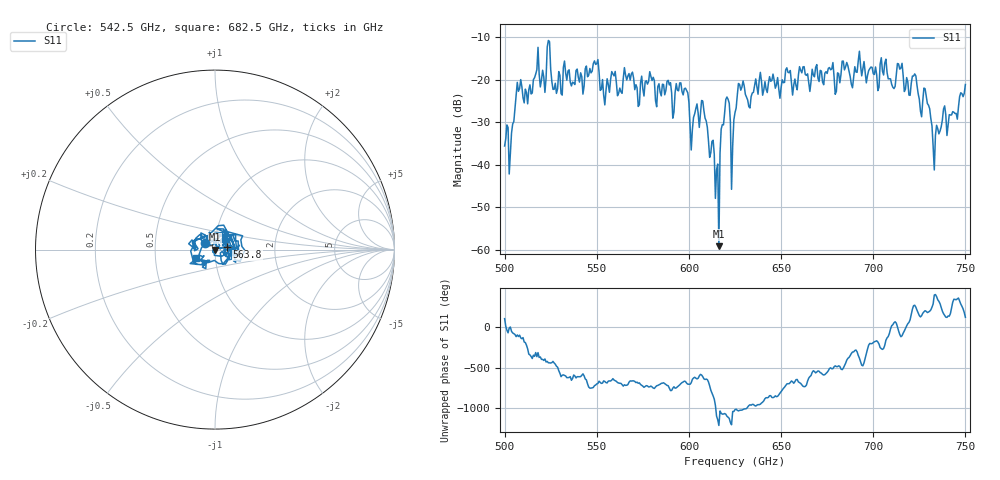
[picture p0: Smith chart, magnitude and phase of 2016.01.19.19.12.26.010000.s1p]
!Created with skrf (http://scikit-rf.org).
# GHz S RI R 50.0
!freq ReS11 ImS11
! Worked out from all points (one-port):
!   401 points, 500 GHz to 750 GHz, reference 50 ohm
!   lowest |S11| = -59.2 dB at 616.2 GHz (marker M1), VSWR 1.00, Z = 49.9 - j0.0808 ohm
!   |S11| at or under -10 dB: start of sweep to end of sweep
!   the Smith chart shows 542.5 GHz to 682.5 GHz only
!   S11 on the Smith chart (normalised r, x): 542.5 GHz: 0.89, +0.07; 563.8 GHz: 1.14, +0.03; 682.5 GHz: 0.81, -0.08
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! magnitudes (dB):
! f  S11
! 500 GHz  -35.6
! 503.8 GHz  -32.6
! 508.1 GHz  -22.1
! 523.8 GHz  -10.8
! 526.9 GHz  -22.3
! 531.2 GHz  -23.6
! 542.5 GHz  -23.4
! 549.4 GHz  -16.4
! 553.1 GHz  -20.0
! 562.5 GHz  -22.0
! 563.8 GHz  -23.2
! 593.8 GHz  -22.5
! 601.9 GHz  -31.7
! 608.1 GHz  -27.3
! 615 GHz  -41.2
! 616.2 GHz  -59.2
! 620.6 GHz  -24.1
! 623.1 GHz  -45.8
! 625 GHz  -27.8
! 628.1 GHz  -22.5
! 656.2 GHz  -23.6
! 682.5 GHz  -18.8
! 687.5 GHz  -19.3
! 714.4 GHz  -17.5
! 718.8 GHz  -20.5
! 728.8 GHz  -23.9
! 733.8 GHz  -33.1
! 750 GHz  -21.2
